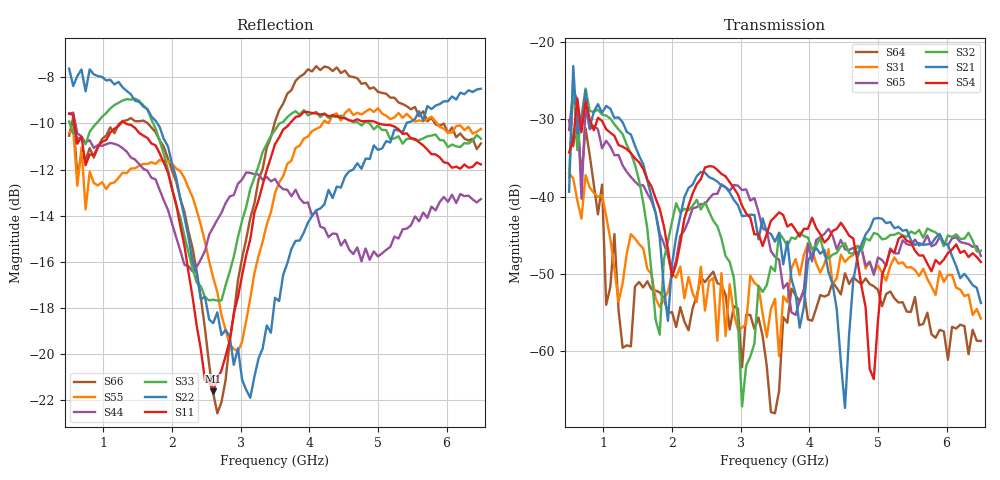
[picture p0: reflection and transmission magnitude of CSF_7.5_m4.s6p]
!Keysight Technologies,M9804A,MY58100912,A.14.10.03
!Date: Thursday, April 27, 2023 10:28:33
!Correction: S11(C  6-Port  )
!S12(C  6-Port  )
!S13(C  6-Port  )
!S14(C  6-Port  )
!S15(C  6-Port  )
!S16(C  6-Port  )
!S21(C  6-Port  )
!S22(C  6-Port  )
!S23(C  6-Port  )
!S24(C  6-Port  )
!S25(C  6-Port  )
!S26(C  6-Port  )
!S31(C  6-Port  )
!S32(C  6-Port  )
!S33(C  6-Port  )
!S34(C  6-Port  )
!S35(C  6-Port  )
!S36(C  6-Port  )
!S41(C  6-Port  )
!S42(C  6-Port  )
!S43(C  6-Port  )
!S44(C  6-Port  )
!S45(C  6-Port  )
!S46(C  6-Port  )
!S51(C  6-Port  )
!S52(C  6-Port  )
!S53(C  6-Port  )
!S54(C  6-Port  )
!S55(C  6-Port  )
!S56(C  6-Port  )
!S61(C  6-Port  )
!S62(C  6-Port  )
!S63(C  6-Port  )
!S64(C  6-Port  )
!S65(C  6-Port  )
!S66(C  6-Port  )
!S6P File: Measurement: :
# Hz S  RI  R 50
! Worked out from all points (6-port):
!   101 points, 500 MHz to 6.5 GHz, reference 50 ohm
!   strongest paths, dB at 500 MHz, 2 GHz, 3.5 GHz, 5 GHz, 6.5 GHz:
!     S54: -34.3, -50.3, -42.6, -56.1, -48.5
!     S21: -39.4, -48.7, -45.8, -42.8, -53.8
!     S32: -37.5, -43.2, -49.7, -44.9, -47.0
!     S65: -31.4, -50.1, -47.8, -47.9, -47.7
!     S31: -37.0, -50.0, -53.2, -48.9, -55.8
!     S64: -30.1, -54.9, -68.0, -52.1, -58.7
!   lowest |S11| = -21.6 dB at 2.6 GHz (marker M1), VSWR 1.18, Z = 42.6 + j2.11 ohm
!   |S11| at or under -10 dB: 578.2 MHz to 1.254 GHz (675.7 MHz wide, 73.8 % of centre); 1.326 GHz to 3.716 GHz (2.39 GHz wide, 94.8 % of centre); 5.011 GHz to end of sweep
